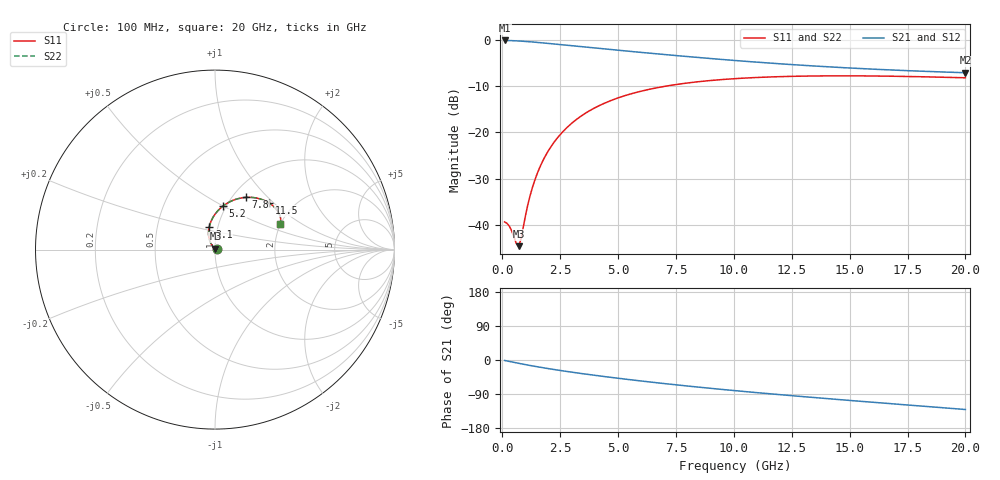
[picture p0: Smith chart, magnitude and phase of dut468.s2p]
! Touchstone file exported from HFSS 2024.1.0
!  File:  C:/UserFiles/LocalFiles/RDL_TSV_Batchsim/temp_RDL_TSV_468_1779729263.aedt
!  Generated:  01:31:44 AM May 26, 2026
!  Design:  RDL_TSV
!  Project:  temp_RDL_TSV_468_1779729263
!  Setup:  Setup1
!  Solution:  Sweep
! Variables:
!  dtsv = 9.33um
!  hbump = 3um
!  htsv = 75.04um
!  ldown = 150.73um
!  lrdl = 281.57um
!  p = 40
!  p1 = 56.67um
!  rhole = 10um
!  subl = 1578.47um
!  t = 450um
!  tdown = 2.44um
!  trdl = 4.06um
!  viad = 10um
!  wdown = 21.46um
!  wrdl = 13.97um
!  xbump = 18um
# GHz S MA R 50.000000
! Terminal data exported
! Port[1] = TM1_1_T1
! Port[2] = TM1_4_T1
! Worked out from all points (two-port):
!   200 points, 100 MHz to 20 GHz, reference 50 ohm
!   highest |S21| = -0.10 dB at 100 MHz (marker M1); lowest = -7.1 dB at 20 GHz (marker M2)
!   |S21| within 3 dB of the highest: start of sweep to 6.906 GHz
!   lowest |S11| = -44.6 dB at 700 MHz (marker M3), VSWR 1.01, Z = 50.3 + j0.529 ohm
!   |S11| at or under -10 dB: start of sweep to 7.04 GHz
!   |S22| runs from -44.6 to -7.7 dB; largest |S21 - S12| = 1.1e-14
!   S11 on the Smith chart (normalised r, x): 100 MHz: 1.02, +0.00; 3.1 GHz: 0.91, +0.24; 5.2 GHz: 0.97, +0.50; 7.8 GHz: 1.15, +0.76; 11.5 GHz: 1.51, +0.94; 20 GHz: 1.98, +0.68
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0.1  0.01079 3.0  0.9888 -1.3  0.9888 -1.3  0.01079 3.0
! Gamma 0 0 0 0
! Port Impedance 50 0 50 0
0.3  0.009729 9.6  0.9863 -3.8  0.9863 -3.8  0.009729 9.6
0.6  0.006317 38.9  0.9794 -7.5  0.9794 -7.5  0.006318 38.9
0.7  0.005895 63.1  0.9764 -8.7  0.9764 -8.7  0.005895 63.1
0.8  0.006896 88.8  0.9731 -9.9  0.9731 -9.9  0.006894 88.7
1  0.01254 115.7  0.9656 -12.2  0.9656 -12.2  0.01254 115.7
1.2  0.02071 123.3  0.9571 -14.5  0.9571 -14.5  0.02071 123.3
1.4  0.0303 124.7  0.9478 -16.7  0.9478 -16.7  0.03029 124.7
1.6  0.04088 123.7  0.938 -18.8  0.938 -18.8  0.04087 123.7
1.9  0.05804 120.5  0.9228 -21.9  0.9228 -21.9  0.05802 120.5
2.2  0.07617 116.5  0.9073 -24.8  0.9073 -24.8  0.07615 116.5
3.1  0.1321 103.9  0.8616 -33.0  0.8616 -33.0  0.132 103.9
3.5  0.1562 98.6  0.8422 -36.4  0.8422 -36.4  0.1561 98.6
4.3  0.2012 89.1  0.8053 -42.8  0.8053 -42.8  0.2012 89.1
5.2  0.2458 79.8  0.7666 -49.7  0.7666 -49.7  0.2458 79.8
6.8  0.3085 66.3  0.7039 -60.9  0.7039 -60.9  0.3085 66.3
7.8  0.3379 59.4  0.6685 -67.4  0.6685 -67.4  0.3379 59.4
10.1  0.3827 46.8  0.5988 -81.2  0.5988 -81.2  0.3827 46.8
11.5  0.398 40.8  0.5639 -88.9  0.5639 -88.9  0.3979 40.8
13.4  0.4082 34.2  0.5247 -98.8  0.5247 -98.8  0.4081 34.2
16.7  0.4063 26.2  0.4751 -114.9  0.4751 -114.9  0.4062 26.2
20  0.3903 21.9  0.4427 -130.6  0.4427 -130.6  0.3903 21.8
